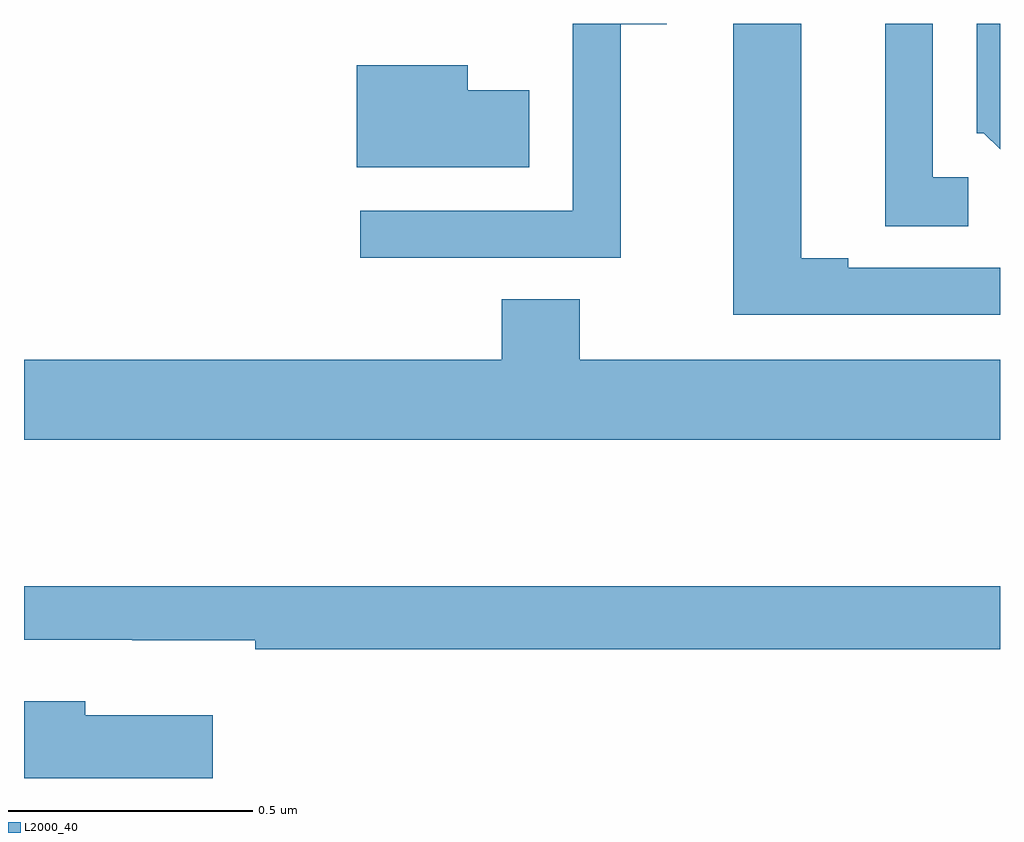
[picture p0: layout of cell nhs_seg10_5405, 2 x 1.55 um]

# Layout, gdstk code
import gdstk
lib = gdstk.Library(unit=1e-6, precision=1e-09)
def P(c, l, *ps):  # polygons
    for p in ps: c.add(gdstk.Polygon(p, *l))
L2000_40 = (2000, 40)

nhs_seg10_5405 = lib.new_cell('nhs_seg10_5405')
P(nhs_seg10_5405, L2000_40, [(180,1302),(179.689,1302),(179.689,1302.02),(179.593,1302.02),(179.593,1302.5),(179.453,1302.5),(179.453,1301.904),(180,1301.904)],
  [(180,1302.5),(179.952,1302.5),(179.952,1302.276),(179.967,1302.276),(180,1302.243)],
  [(179.223,1302.499),(179.317,1302.499),(179.317,1302.5),(179.124,1302.5),(179.124,1302.117),(178.689,1302.117),(178.689,1302.021),(179.223,1302.021)],
  [(179.935,1302.186),(179.862,1302.186),(179.862,1302.5),(179.765,1302.5),(179.765,1302.085),(179.935,1302.085)],
  [(179.035,1302.364),(178.909,1302.364),(178.909,1302.415),(178.682,1302.415),(178.682,1302.206),(179.035,1302.206)],
  [(180,1301.812),(179.139,1301.812),(179.139,1301.936),(178.979,1301.936),(178.979,1301.812),(178,1301.812),(178,1301.648),(180,1301.648)],
  [(180,1301.347),(178,1301.347),(178,1301.238),(178.222,1301.238),(178.222,1301.237),(178.474,1301.237),(178.474,1301.218),(180,1301.218)],
  [(178.387,1301.083),(178.126,1301.083),(178.126,1301.112),(178,1301.112),(178,1300.954),(178.387,1300.954)])

lib.write_gds('nhs_seg10_5405.gds')
